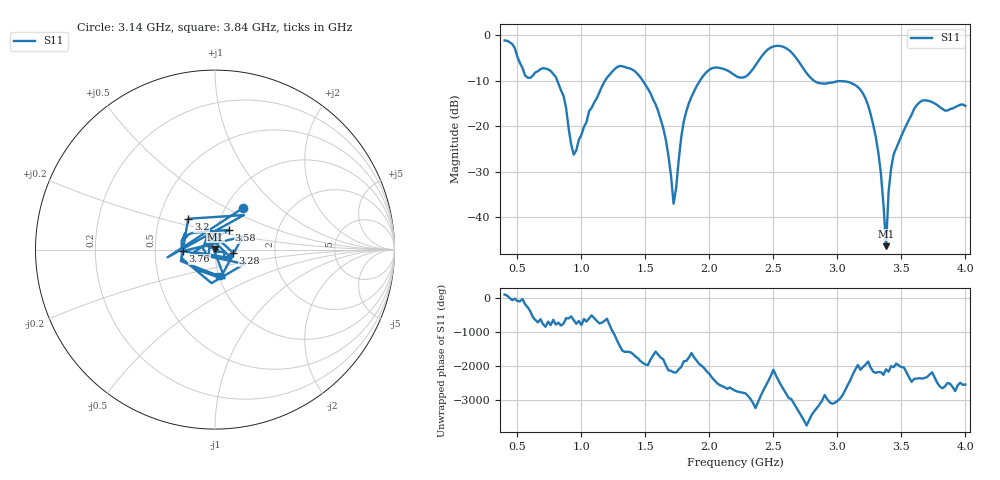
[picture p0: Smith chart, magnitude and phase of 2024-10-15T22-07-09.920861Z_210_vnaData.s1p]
! Created with skrf (http://scikit-rf.org).
# Hz S RI R 50.0
!freq ReS11 ImS11
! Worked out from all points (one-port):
!   181 points, 400 MHz to 4 GHz, reference 50 ohm
!   lowest |S11| = -46.3 dB at 3.38 GHz (marker M1), VSWR 1.01, Z = 50.2 + j0.427 ohm
!   |S11| at or under -10 dB: 810.8 MHz to 1.186 GHz (374.8 MHz wide, 37.5 % of centre); 1.478 GHz to 1.927 GHz (448.9 MHz wide, 26.4 % of centre); 2.815 GHz to end of sweep
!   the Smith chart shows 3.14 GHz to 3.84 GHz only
!   S11 on the Smith chart (normalised r, x): 3.14 GHz: 1.21, +0.61; 3.2 GHz: 0.70, +0.25; 3.28 GHz: 1.22, -0.04; 3.58 GHz: 1.13, +0.25; 3.76 GHz: 0.70, -0.01; 3.84 GHz: 1.01, -0.30
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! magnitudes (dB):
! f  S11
! 400 MHz  -1.2
! 560 MHz  -8.9
! 740 MHz  -7.6
! 860 MHz  -13.4
! 940 MHz  -26.3
! 1.3 GHz  -6.8
! 1.58 GHz  -15.3
! 1.66 GHz  -23.1
! 1.72 GHz  -37.0
! 1.76 GHz  -27.6
! 1.82 GHz  -16.7
! 1.94 GHz  -9.4
! 2.2 GHz  -8.9
! 2.5 GHz  -2.5
! 2.66 GHz  -4.4
! 2.84 GHz  -10.4
! 3.1 GHz  -10.5
! 3.14 GHz  -11.0
! 3.2 GHz  -12.9
! 3.28 GHz  -19.8
! 3.34 GHz  -30.4
! 3.38 GHz  -46.3
! 3.42 GHz  -29.2
! 3.56 GHz  -18.6
! 3.58 GHz  -17.5
! 3.76 GHz  -15.0
! 3.84 GHz  -16.6
! 4 GHz  -15.6
